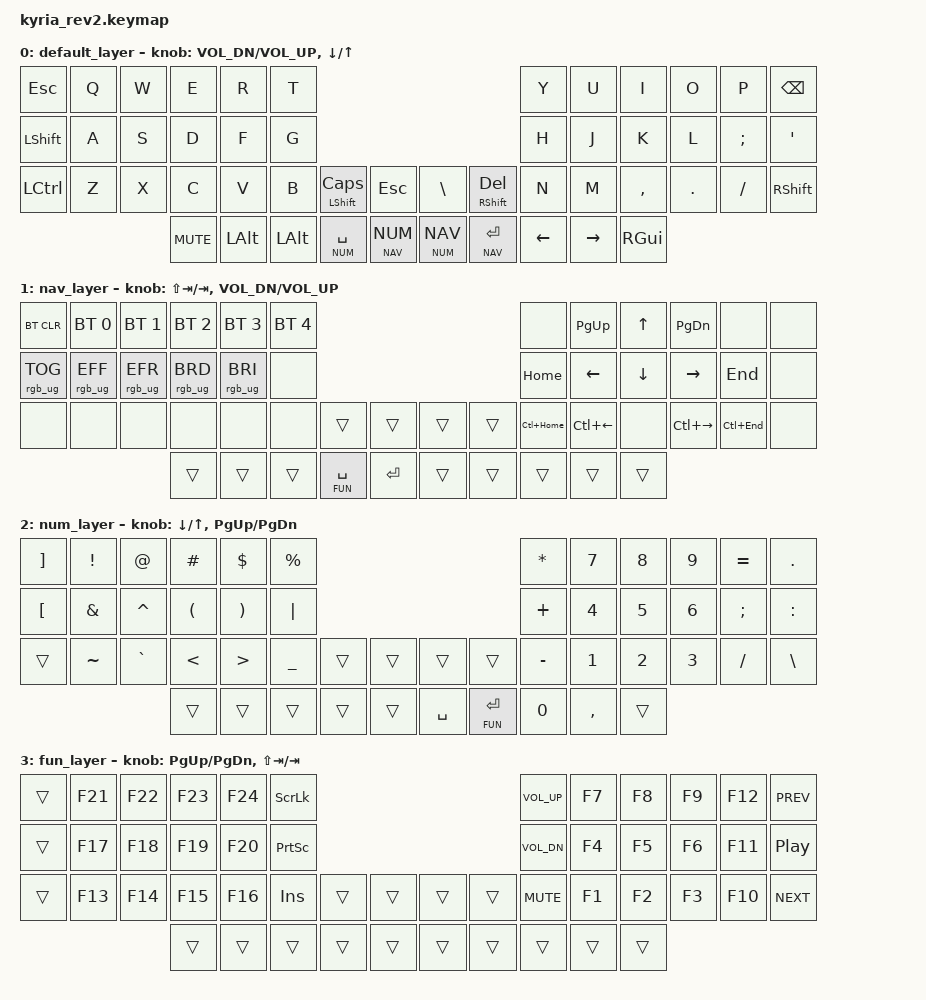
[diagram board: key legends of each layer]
/*
 * Copyright (c) 2021 Jaromír Malenko
 *
 * SPDX-License-Identifier: MIT
 */

#include <behaviors.dtsi>
#include <dt-bindings/zmk/keys.h>
#include <dt-bindings/zmk/outputs.h>
#include <dt-bindings/zmk/bt.h>
#include <dt-bindings/zmk/rgb.h>
#include <dt-bindings/zmk/ext_power.h>

#define BASE  0
#define NAV   1
#define NUM   2
#define FUN   3

#define PREV_WORD LC(LEFT)
#define NEXT_WORD LC(RIGHT)
#define BEG_DOC   LC(HOME)
#define END_DOC   LC(END)

&left_encoder { resolution = <2>; };
&right_encoder { resolution = <2>; };

/*                            KEY POSITIONS
  ╭────────────────────────╮                 ╭────────────────────────╮
  │  0   1   2   3   4   5 │                 │  6   7   8   9  10  11 │
  │ 12  13  14  15  16  17 ╰───────╮ ╭───────╯ 18  19  20  21  22  23 │
  │ 24  25  26  27  28  29  30  31 │ │ 32  33  34  35  36  37  38  39 │
  ╰───────────╮ 40  41  42  43  44 │ │ 45  46  47  48  49 ╭───────────╯
              ╰────────────────────╯ ╰────────────────────╯            */
/ {
    combos {
        compatible = "zmk,combos";

        combo_grave {
            timeout-ms = <50>;
            key-positions = <0 13>;
            bindings = <&kp GRAVE>;
        };
        combo_exclamation {
            timeout-ms = <50>;
            key-positions = <1 13>;
            bindings = <&kp EXCL>;
        };
        combo_at {
            timeout-ms = <50>;
            key-positions = <2 14>;
            bindings = <&kp AT>;
        };
        combo_hash {
            timeout-ms = <50>;
            key-positions = <3 15>;
            bindings = <&kp HASH>;
        };
        combo_dollar {
            timeout-ms = <50>;
            key-positions = <4 16>;
            bindings = <&kp DLLR>;
        };
        combo_percent {
            timeout-ms = <50>;
            key-positions = <5 17>;
            bindings = <&kp PRCNT>;
        };
        combo_caret {
            timeout-ms = <50>;
            key-positions = <6 18>;
            bindings = <&kp CARET>;
        };
        combo_ampersand {
            timeout-ms = <50>;
            key-positions = <7 19>;
            bindings = <&kp AMPS>;
        };
        combo_asterisk {
            timeout-ms = <50>;
            key-positions = <8 20>;
            bindings = <&kp STAR>;
        };
        combo_left_parenthesis {
            timeout-ms = <50>;
            key-positions = <9 21>;
            bindings = <&kp LPAR>;
        };
        combo_right_parenthesis {
            timeout-ms = <50>;
            key-positions = <10 22>;
            bindings = <&kp RPAR>;
        };
        combo_minus {
            timeout-ms = <50>;
            key-positions = <11 23>;
            bindings = <&kp MINUS>;
        };

        combo_tilde {
            timeout-ms = <50>;
            key-positions = <12 24>;
            bindings = <&kp TILDE>;
        };

        combo_plus {
            timeout-ms = <50>;
            key-positions = <21 37>;
            bindings = <&kp PLUS>;
        };
        combo_equal {
            timeout-ms = <50>;
            key-positions = <22 38>;
            bindings = <&kp EQUAL>;
        };
        combo_underscore {
            timeout-ms = <50>;
            key-positions = <23 39>;
            bindings = <&kp UNDER>;
        };
    };
};

/ {
    behaviors {
        mo_tog: behavior_mo_tog {
            compatible = "zmk,behavior-hold-tap";
            label = "mo_tog";
            #binding-cells = <2>;
            flavor = "hold-preferred";
            tapping-term-ms = <200>;
            bindings = <&mo>, <&tog>;
        };
    };
};

/ {
	keymap {
		compatible = "zmk,keymap";

		default_layer {
/* -------------------------------------------------------------                                            -------------------------------------------------------------
   |    ESC  |    Q    |    W    |    E    |    R    |    T    |                                            |    Y    |    U    |    I    |    O    |    P    |   BSCP  |
   |    SHIFT|    A    |    S    |    D    |    F    |    G    |--------------------    --------------------|    H    |    J    |    K    |    L    |    ;    |    '    |
   |    LCTRL|    Z    |    X    |    C    |    V    |    B    |   CAPS  |    ESC  |    |    \    |   DEL   |    N    |    M    |    ,    |    .    |    /    |   CTRL  |
   ------------------------------|   MUTE  |  ALT    |   ALT   |   SPACE |    num  |    |    nav  |   RET   |   LEFT  |  RIGHT  |  RGUI   |------------------------------
                                 ---------------------------------------------------    ---------------------------------------------------                               */
			bindings = <
    &kp ESC   &kp Q     &kp W     &kp E        &kp R     &kp T                                                                     &kp Y     &kp U     &kp I     &kp O     &kp P     &kp BSPC
    &kp LSHFT &kp A     &kp S     &kp D        &kp F     &kp G                                                                     &kp H     &kp J     &kp K     &kp L     &kp SEMI  &kp SQT
    &kp LCTRL &kp Z     &kp X     &kp C        &kp V     &kp B     &mt LSHFT CAPS &kp ESC           &kp BSLH        &mt RSHFT DEL  &kp N     &kp M     &kp COMMA &kp DOT   &kp FSLH  &kp RSHFT
                                  &kp C_MUTE   &kp LALT  &kp LALT  &lt NUM SPACE  &mo_tog NAV NUM   &mo_tog NUM NAV &lt NAV RET    &kp LEFT  &kp RIGHT &kp RGUI
			>;
			sensor-bindings = <&inc_dec_kp C_VOL_DN C_VOL_UP &inc_dec_kp DOWN UP>;
		};

		nav_layer {
/* -------------------------------------------------------------                                            -------------------------------------------------------------
   | BT_CLR  |BT_SEL 0 |BT_SEL 1 |BT_SEL 2 |BT_SEL 3 |BT_SEL 4 |                                            |none     |PG_UP    |UP       |PG_DN    |none     |none     |
   | RGB_TOG |RGB_EFF  |RGB_EFR  |RGB_BRD  |RGB_BRI  |none     |--------------------    --------------------|Home     |LEFT     |DOWN     |RIGHT    |END      |none     |
   | none    |none     |none     |none     |none     |none     |none     |none     |    |none     |none     |BEG_DOC  |PREV_WORD|none     |NEXT_WORD|END_DOC  |none     |
   ------------------------------|none     |none     |none     |none     |none     |    |none     |none     |none     |none     |none     |------------------------------
                                 ---------------------------------------------------    ---------------------------------------------------                               */
			bindings = <
    &bt BT_CLR          &bt BT_SEL 0        &bt BT_SEL 1        &bt BT_SEL 2        &bt BT_SEL 3        &bt BT_SEL 4                                                        &none       &kp PG_UP      &kp UP     &kp PG_DN      &none       &none
    &rgb_ug RGB_TOG     &rgb_ug RGB_EFF     &rgb_ug RGB_EFR     &rgb_ug RGB_BRD     &rgb_ug RGB_BRI     &none                                                               &kp HOME    &kp LEFT       &kp DOWN   &kp RIGHT      &kp END     &none
    &none               &none               &none               &none               &none               &none           &trans          &trans          &trans    &trans    &kp BEG_DOC &kp PREV_WORD  &none      &kp NEXT_WORD  &kp END_DOC &none
                                                                &trans              &trans              &trans          &lt FUN SPACE   &kp RET         &trans    &trans    &trans      &trans         &trans
			>;
			sensor-bindings = <&inc_dec_kp LS(TAB) TAB &inc_dec_kp C_VOL_DN C_VOL_UP>;
		};

		num_layer {
/* -------------------------------------------------------------                                            -------------------------------------------------------------
   | none    |none     |none     |none     |none     |none     |                                            | *       |7        |8        |9        |=        |.        |
   | none    |none     |none     |none     |none     |none     |--------------------    --------------------| +       |4        |5        |6        |none     |none     |
   | none    |none     |none     |none     |none     |none     |none     |none     |    |none     |none     | -       |1        |2        |3        |none     |none     |
   ------------------------------|none     |none     |none     |none     |none     |    |none     |none     |none     |none     |none     |------------------------------
                                 ---------------------------------------------------    ---------------------------------------------------                               */
			bindings = <
    &kp RBKT  &kp EXCL  &kp AT    &kp HASH  &kp DLLR  &kp PRCNT                                              &kp STAR  &kp N7    &kp N8    &kp N9    &kp EQUAL &kp DOT
    &kp LBKT  &kp AMPS  &kp CARET &kp LPAR  &kp RPAR  &kp PIPE                                               &kp PLUS  &kp N4    &kp N5    &kp N6    &kp SEMI  &kp COLON
    &trans    &kp TILDE &kp GRAVE &kp LT    &kp GT    &kp UNDER &trans   &trans          &trans    &trans    &kp MINUS &kp N1    &kp N2    &kp N3    &kp FSLH  &kp BSLH
                                  &trans    &trans    &trans    &trans   &trans          &kp SPACE &lt FUN RET &kp N0  &kp COMMA &trans
			>;
			sensor-bindings = <&inc_dec_kp DOWN UP &inc_dec_kp PG_UP PG_DN>;
		};

		fun_layer {
/* -------------------------------------------------------------                                            -------------------------------------------------------------
   | none    |none     |none     |none     |none     |none     |                                            | none    |none     |none     |none     |none     |none     |
   | none    |none     |none     |none     |none     |none     |--------------------    --------------------| none    |none     |none     |none     |none     |none     |
   | none    |none     |none     |none     |none     |none     |none     |none     |    |none     |none     | none    |none     |none     |none     |none     |none     |
   ------------------------------|none     |none     |none     |none     |none     |    |none     |none     |none     |none     |none     |------------------------------
                                 ---------------------------------------------------    ---------------------------------------------------                               */
			bindings = <
    &trans    &kp F21   &kp F22   &kp F23   &kp F24   &kp SLCK                                               &kp C_VOL_UP &kp F7 &kp F8    &kp F9    &kp F12   &kp C_PREV
    &trans    &kp F17   &kp F18   &kp F19   &kp F20   &kp PSCRN                                              &kp C_VOL_DN &kp F4 &kp F5    &kp F6    &kp F11   &kp C_PLAY_PAUSE
    &trans    &kp F13   &kp F14   &kp F15   &kp F16   &kp INS   &trans   &trans          &trans    &trans    &kp C_MUTE &kp F1   &kp F2    &kp F3    &kp F10   &kp C_NEXT
                                  &trans    &trans    &trans    &trans   &trans          &trans    &trans    &trans    &trans    &trans
			>;
			sensor-bindings = <&inc_dec_kp PG_UP PG_DN &inc_dec_kp LS(TAB) TAB>;
		};


//      example_layer{
// /* -------------------------------------------------------------                                            -------------------------------------------------------------
//    | none    |none     |none     |none     |none     |none     |                                            | none    |none     |none     |none     |none     |none     |
//    | none    |none     |none     |none     |none     |none     |--------------------    --------------------| none    |none     |none     |none     |none     |none     |
//    | none    |none     |none     |none     |none     |none     |none     |none     |    |none     |none     | none    |none     |none     |none     |none     |none     |
//    ------------------------------|none     |none     |none     |none     |none     |    |none     |none     |none     |none     |none     |------------------------------
//                                  ---------------------------------------------------    ---------------------------------------------------                               */
//			bindings = <
//    &trans    &trans   &trans  &trans   &trans   &trans                                              &trans    &trans   &trans  &trans   &trans   &trans 
//    &trans    &trans   &trans  &trans   &trans   &trans                                              &trans    &trans   &trans  &trans   &trans   &trans 
//    &trans    &trans   &trans  &trans   &trans   &trans   &trans   &trans          &trans   &trans   &trans    &trans   &trans  &trans   &trans   &trans 
//                               &trans   &trans   &trans   &trans   &trans          &trans   &trans   &trans    &trans   &trans
//			>;
//			sensor-bindings = <&inc_dec_kp C_VOL_DN C_VOL_UP &inc_dec_kp DOWN UP>;
//		};


	};
};
